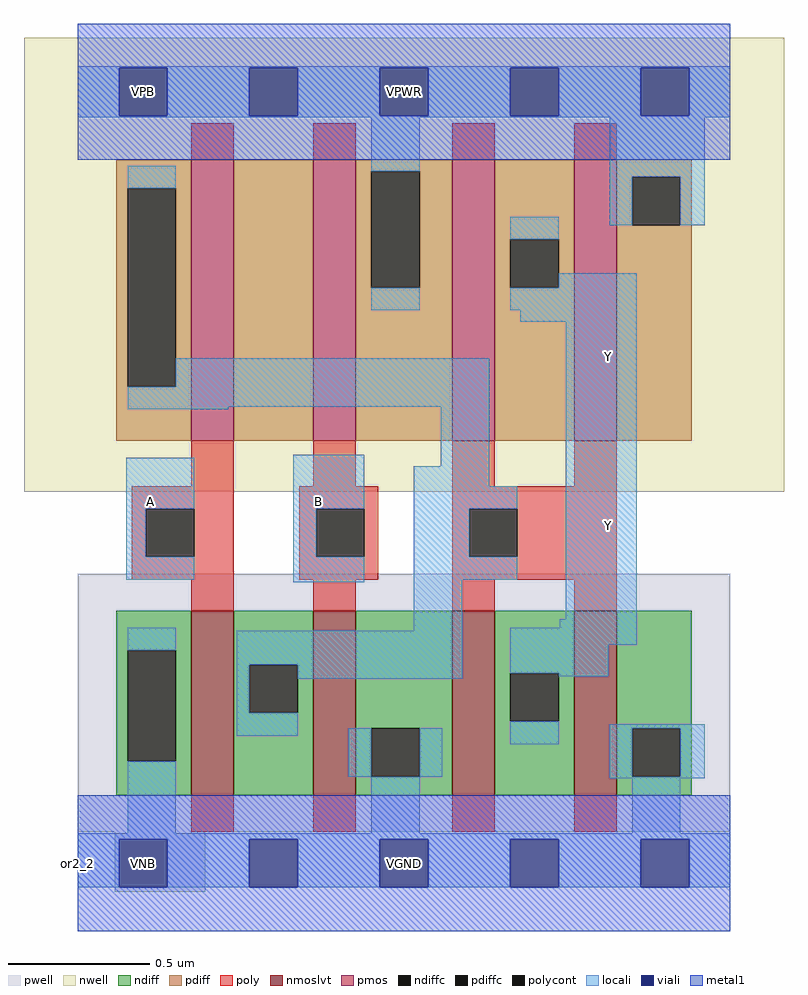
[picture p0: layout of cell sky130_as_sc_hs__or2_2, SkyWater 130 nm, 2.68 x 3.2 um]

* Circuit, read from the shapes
.subckt sky130_as_sc_hs__or2_2 VNB VPB VPWR VGND A B Y
XM1 n1 A VGND VNB sky130_fd_pr__nfet_01v8_lvt w=0.65 l=0.15
XM2 VGND B n1 VNB sky130_fd_pr__nfet_01v8_lvt w=0.65 l=0.15
XM3 Y n1 VGND VNB sky130_fd_pr__nfet_01v8_lvt w=0.65 l=0.15 m=2
XM4 n2 A n1 VPB sky130_fd_pr__pfet_01v8 w=0.99 l=0.15
XM5 VPWR B n2 VPB sky130_fd_pr__pfet_01v8 w=0.99 l=0.15
XM6 Y n1 VPWR VPB sky130_fd_pr__pfet_01v8 w=0.99 l=0.15 m=2
.ends

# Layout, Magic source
magic
tech sky130A
magscale 1 2
<< nwell >>
rect -38 262 498 582
<< pwell >>
rect 0 22 460 204
rect 26 -20 90 22
<< pmos >>
rect 80 298 110 496
rect 166 298 196 496
rect 264 298 294 496
rect 350 298 380 496
<< nmoslvt >>
rect 80 48 110 178
rect 166 48 196 178
rect 264 48 294 178
rect 350 48 380 178
<< ndiff >>
rect 27 150 80 178
rect 27 72 35 150
rect 69 72 80 150
rect 27 48 80 72
rect 110 140 166 178
rect 110 106 121 140
rect 155 106 166 140
rect 110 48 166 106
rect 196 95 264 178
rect 196 61 207 95
rect 241 61 264 95
rect 196 48 264 61
rect 294 134 350 178
rect 294 100 305 134
rect 339 100 350 134
rect 294 48 350 100
rect 380 95 433 178
rect 380 61 391 95
rect 425 61 433 95
rect 380 48 433 61
<< pdiff >>
rect 27 476 80 496
rect 27 336 35 476
rect 69 336 80 476
rect 27 298 80 336
rect 110 298 166 496
rect 196 488 264 496
rect 196 406 207 488
rect 241 406 264 488
rect 196 298 264 406
rect 294 440 350 496
rect 294 406 305 440
rect 339 406 350 440
rect 294 298 350 406
rect 380 484 433 496
rect 380 450 391 484
rect 425 450 433 484
rect 380 298 433 450
<< ndiffc >>
rect 35 72 69 150
rect 121 106 155 140
rect 207 61 241 95
rect 305 100 339 134
rect 391 61 425 95
<< pdiffc >>
rect 35 336 69 476
rect 207 406 241 488
rect 305 406 339 440
rect 391 450 425 484
<< poly >>
rect 80 496 110 522
rect 166 496 196 522
rect 264 496 294 522
rect 350 496 380 522
rect 80 266 110 298
rect 166 266 196 298
rect 264 266 294 298
rect 350 266 380 298
rect 38 250 110 266
rect 38 216 48 250
rect 82 216 110 250
rect 38 200 110 216
rect 156 250 212 266
rect 156 216 168 250
rect 202 216 212 250
rect 156 200 212 216
rect 264 250 380 266
rect 264 216 276 250
rect 310 216 380 250
rect 264 200 380 216
rect 80 178 110 200
rect 166 178 196 200
rect 264 178 294 200
rect 350 178 380 200
rect 80 22 110 48
rect 166 22 196 48
rect 264 22 294 48
rect 350 22 380 48
<< polycont >>
rect 48 216 82 250
rect 168 216 202 250
rect 276 216 310 250
<< locali >>
rect 0 561 460 562
rect 0 527 29 561
rect 63 527 121 561
rect 155 527 213 561
rect 247 527 305 561
rect 339 527 397 561
rect 431 527 460 561
rect 0 526 460 527
rect 35 476 69 492
rect 207 488 241 526
rect 375 484 442 526
rect 207 390 241 406
rect 305 440 339 456
rect 375 450 391 484
rect 425 450 442 484
rect 339 406 394 416
rect 305 390 394 406
rect 312 382 394 390
rect 69 336 290 356
rect 35 322 290 336
rect 35 320 106 322
rect 34 250 82 286
rect 34 216 48 250
rect 34 200 82 216
rect 152 250 202 288
rect 256 280 290 322
rect 152 216 168 250
rect 152 198 202 216
rect 237 266 290 280
rect 237 250 310 266
rect 237 216 276 250
rect 237 200 310 216
rect 35 150 69 166
rect 237 164 271 200
rect 344 172 394 382
rect 340 166 394 172
rect 112 140 271 164
rect 112 106 121 140
rect 155 130 271 140
rect 305 154 394 166
rect 305 134 374 154
rect 112 90 155 106
rect 339 132 374 134
rect 35 21 69 72
rect 191 61 207 95
rect 241 61 257 95
rect 305 84 339 100
rect 375 95 442 98
rect 375 61 391 95
rect 425 61 442 95
rect 207 21 241 61
rect 375 60 442 61
rect 391 21 425 60
rect 0 17 460 21
rect 0 -17 29 17
rect 63 -17 121 17
rect 155 -17 213 17
rect 247 -17 305 17
rect 339 -17 397 17
rect 431 -17 460 17
<< viali >>
rect 29 527 63 561
rect 121 527 155 561
rect 213 527 247 561
rect 305 527 339 561
rect 397 527 431 561
rect 29 -17 63 17
rect 121 -17 155 17
rect 213 -17 247 17
rect 305 -17 339 17
rect 397 -17 431 17
<< metal1 >>
rect 0 561 460 592
rect 0 527 29 561
rect 63 527 121 561
rect 155 527 213 561
rect 247 527 305 561
rect 339 527 397 561
rect 431 527 460 561
rect 0 496 460 527
rect 0 17 460 48
rect 0 -17 29 17
rect 63 -17 121 17
rect 155 -17 213 17
rect 247 -17 305 17
rect 339 -17 397 17
rect 431 -17 460 17
rect 0 -48 460 -17
<< labels >>
rlabel comment s 0 0 0 0 4 or2_2
flabel pwell s 29 -17 63 17 0 FreeSans 200 0 0 0 VNB
port 1 nsew ground bidirectional
flabel pwell s 46 0 46 0 0 FreeSans 200 0 0 0 VNB
flabel nwell s 29 527 63 561 0 FreeSans 200 0 0 0 VPB
port 2 nsew power bidirectional
flabel nwell s 46 544 46 544 0 FreeSans 200 0 0 0 VPB
flabel metal1 s 29 527 63 561 0 FreeSans 200 0 0 0 VPWR
port 3 nsew power bidirectional abutment
flabel metal1 s 29 -17 63 17 0 FreeSans 200 0 0 0 VGND
port 4 nsew ground bidirectional abutment
rlabel metal1 s 0 -48 460 48 1 VGND
port 4 nsew ground bidirectional abutment
rlabel metal1 s 0 496 460 592 1 VPWR
port 3 nsew power bidirectional abutment
flabel locali s 34 238 68 272 0 FreeSans 200 0 0 0 A
port 5 nsew signal input
flabel locali s 51 255 51 255 0 FreeSans 200 0 0 0 A
flabel locali s 357 221 391 255 0 FreeSans 200 0 0 0 Y
port 7 nsew signal output
flabel locali s 375 238 375 238 0 FreeSans 200 0 0 0 Y
flabel locali s 357 340 391 374 0 FreeSans 200 0 0 0 Y
port 7 nsew signal output
flabel locali s 375 357 375 357 0 FreeSans 200 0 0 0 Y
flabel locali 153 238 187 272 0 FreeSans 200 0 0 0 B
port 6 nsew signal input
flabel locali 170 255 170 255 0 FreeSans 200 0 0 0 B
<< properties >>
string FIXED_BBOX 0 0 460 544
string GDS_FILE $PDKPATH/libs.ref/sky130_as_sc_hs/gds/sky130_as_sc_hs__or2_2.gds
string LEFclass CORE
string LEFsite unithd
string LEFsymmetry X Y R90
string MASKHINTS_LVTN 0 -4 460 220
string MASKHINTS_NSDM 0 -38 460 209
string MASKHINTS_PSDM 0 273 460 582
<< end >>
